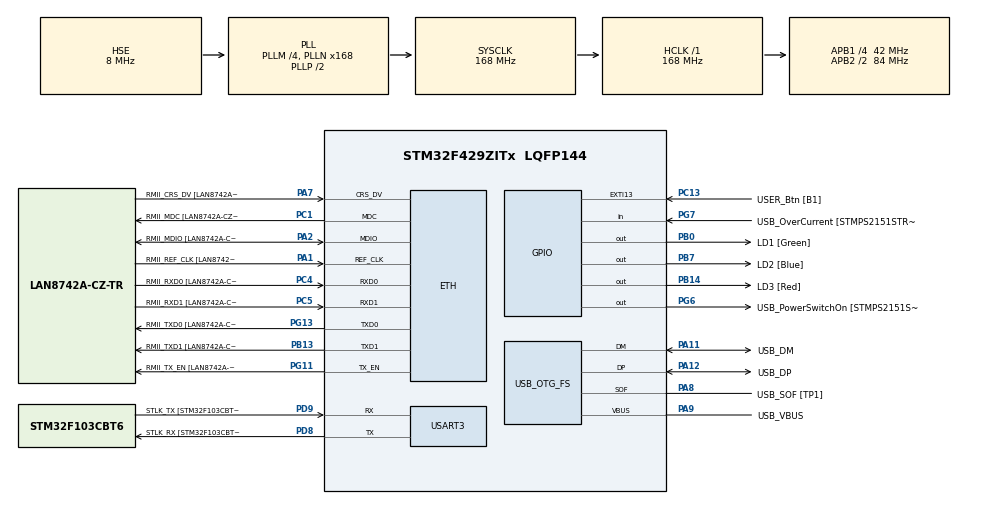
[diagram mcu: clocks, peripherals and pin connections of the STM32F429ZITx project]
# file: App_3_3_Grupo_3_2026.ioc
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ETH.MediaInterface=HAL_ETH_RMII_MODE
ETH.PHY_Name=LAN8742A_PHY_ADDRESS
ETH.PHY_Value=0
ETH.PhyAddress=0
Mcu.Family=STM32F4
Mcu.Name=STM32F429ZITx
Mcu.Package=LQFP144
NVIC.PriorityGroup=NVIC_PRIORITYGROUP_4
PA1.GPIO_Label=RMII_REF_CLK [LAN8742A-CZ-TR_REFCLK0]
PA1.Mode=RMII
PA1.Signal=ETH_REF_CLK
PA10.GPIO_Label=USB_ID
PA10.Signal=USB_OTG_FS_ID
PA11.GPIO_Label=USB_DM
PA11.Mode=Device_Only
PA11.Signal=USB_OTG_FS_DM
PA12.GPIO_Label=USB_DP
PA12.Mode=Device_Only
PA12.Signal=USB_OTG_FS_DP
PA13.GPIO_Label=TMS
PA13.Mode=Serial_Wire
PA13.Signal=SYS_JTMS-SWDIO
PA14.GPIO_Label=TCK
PA14.Mode=Serial_Wire
PA14.Signal=SYS_JTCK-SWCLK
PA2.GPIO_Label=RMII_MDIO [LAN8742A-CZ-TR_MDIO]
PA2.Mode=RMII
PA2.Signal=ETH_MDIO
PA7.GPIO_Label=RMII_CRS_DV [LAN8742A-CZ-TR_CRS_DV]
PA7.Mode=RMII
PA7.Signal=ETH_CRS_DV
PA8.GPIO_Label=USB_SOF [TP1]
PA8.Mode=Activate_SOF_FS
PA8.Signal=USB_OTG_FS_SOF
PA9.GPIO_Label=USB_VBUS
PA9.Mode=Activate_VBUS
PA9.Signal=USB_OTG_FS_VBUS
PB0.GPIO_Label=LD1 [Green]
PB0.Signal=GPIO_Output
PB13.GPIO_Label=RMII_TXD1 [LAN8742A-CZ-TR_TXD1]
PB13.Mode=RMII
PB13.Signal=ETH_TXD1
PB14.GPIO_Label=LD3 [Red]
PB14.Signal=GPIO_Output
PB7.GPIO_Label=LD2 [Blue]
PB7.Signal=GPIO_Output
PC1.GPIO_Label=RMII_MDC [LAN8742A-CZ-TR_MDC]
PC1.Mode=RMII
PC1.Signal=ETH_MDC
PC13.GPIO_Label=USER_Btn [B1]
PC13.Signal=GPXTI13
PC14/OSC32_IN.Mode=LSE-External-Oscillator
PC14/OSC32_IN.Signal=RCC_OSC32_IN
PC15/OSC32_OUT.Mode=LSE-External-Oscillator
PC15/OSC32_OUT.Signal=RCC_OSC32_OUT
PC4.GPIO_Label=RMII_RXD0 [LAN8742A-CZ-TR_RXD0]
PC4.Mode=RMII
PC4.Signal=ETH_RXD0
PC5.GPIO_Label=RMII_RXD1 [LAN8742A-CZ-TR_RXD1]
PC5.Mode=RMII
PC5.Signal=ETH_RXD1
PD8.GPIO_Label=STLK_RX [STM32F103CBT6_PA3]
PD8.Mode=Asynchronous
PD8.Signal=USART3_TX
PD9.GPIO_Label=STLK_TX [STM32F103CBT6_PA2]
PD9.Mode=Asynchronous
PD9.Signal=USART3_RX
PG11.GPIO_Label=RMII_TX_EN [LAN8742A-CZ-TR_TXEN]
PG11.Mode=RMII
PG11.Signal=ETH_TX_EN
PG13.GPIO_Label=RMII_TXD0 [LAN8742A-CZ-TR_TXD0]
PG13.Mode=RMII
PG13.Signal=ETH_TXD0
PG6.GPIO_Label=USB_PowerSwitchOn [STMPS2151STR_EN]
PG6.Signal=GPIO_Output
PG7.GPIO_Label=USB_OverCurrent [STMPS2151STR_FAULT]
PG7.Signal=GPIO_Input
PH0/OSC_IN.GPIO_Label=MCO [STM32F103CBT6_PA8]
PH0/OSC_IN.Mode=HSE-External-Clock-Source
PH0/OSC_IN.Signal=RCC_OSC_IN
PH1/OSC_OUT.Mode=HSE-External-Clock-Source
PH1/OSC_OUT.Signal=RCC_OSC_OUT
ProjectManager.HeapSize=0x200
ProjectManager.StackSize=0x400
ProjectManager.TargetToolchain=STM32CubeIDE
RCC.48MHZClocksFreq_Value=48000000
RCC.AHBFreq_Value=168000000
RCC.APB1CLKDivider=RCC_HCLK_DIV4
RCC.APB1Freq_Value=42000000
RCC.APB1TimFreq_Value=84000000
RCC.APB2CLKDivider=RCC_HCLK_DIV2
RCC.APB2Freq_Value=84000000
RCC.APB2TimCLKDivider=2
RCC.APB2TimFreq_Value=168000000
RCC.CortexFreq_Value=168000000
RCC.HCLKFreq_Value=168000000
RCC.HSE_VALUE=8000000
RCC.HSI_VALUE=16000000
RCC.PLLM=4
RCC.PLLMUL=RCC_PLL_MUL9
RCC.PLLN=168
RCC.PLLQ=7
RCC.PRESCALERUSB=RCC_USBCLKSOURCE_PLL_DIV1_5
RCC.SYSCLKFreq_VALUE=168000000
RCC.SYSCLKSource=RCC_SYSCLKSOURCE_PLLCLK
RCC.SYSCLKSourceVirtual=RCC_SYSCLKSOURCE_PLLCLK
RCC.USBFreq_Value=48000000
RCC.VCOOutputFreq_Value=336000000
USART3.VirtualMode=VM_ASYNC
USB_OTG_FS.VirtualMode=Device_Only
board=NUCLEO-F429ZI

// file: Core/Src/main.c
/* USER CODE BEGIN Header */
/**
  ******************************************************************************
  * @file           : main.c
  * @brief          : Main program body
  ******************************************************************************
  * App_3_3_Grupo_3_2026 - AFP3 - Driver GPIO
  *
  * Aplicacion (refactor de App 1.3 con driver): el pulsador onboard alterna
  * entre cuatro secuencias distintas de los 3 leds onboard:
  *   Secuencia 1: encendido secuencial LD1->LD2->LD3, alternancia de 150 ms.
  *   Secuencia 2: los tres leds parpadean simultaneamente, alternancia 300 ms.
  *   Secuencia 3: LD1 parpadea a 100 ms, LD2 a 300 ms y LD3 a 600 ms.
  *   Secuencia 4: LD1 y LD3 parpadean juntos y LD2 en forma inversa, 150 ms.
  * Cada pulsacion avanza a la siguiente secuencia (1->2->3->4->1...).
  * Toda la gestion del modulo GPIO se realiza exclusivamente con las funciones
  * del driver API_GPIO (no se usan funciones HAL_GPIO_* en este archivo).
  ******************************************************************************
  * @attention
  *
  * Copyright (c) 2026 STMicroelectronics.
  * All rights reserved.
  *
  * This software is licensed under terms that can be found in the LICENSE file
  * in the root directory of this software component.
  * If no LICENSE file comes with this software, it is provided AS-IS.
  *
  ******************************************************************************
  */
/* USER CODE END Header */
#include "main.h"
#include "string.h"
#include "API_GPIO.h"

/* USER CODE BEGIN PD */
#define LED_COUNT		3		/* Cantidad de leds del vector */
#define SEQ_COUNT		4		/* Cantidad de secuencias disponibles */
#define SEQ1_MS			150		/* Secuencia 1: alternancia secuencial [ms] */
#define SEQ2_MS			300		/* Secuencia 2: parpadeo simultaneo [ms] */
#define SEQ3_TICK_MS	100		/* Secuencia 3: tick base del parpadeo [ms] */
#define SEQ4_MS			150		/* Secuencia 4: alternancia inversa [ms] */
#define PASO_MS			10		/* Paso de lectura del pulsador dentro de la espera [ms] */
/* USER CODE END PD */

ETH_TxPacketConfig TxConfig;
ETH_DMADescTypeDef  DMARxDscrTab[ETH_RX_DESC_CNT]; /* Ethernet Rx DMA Descriptors */
ETH_DMADescTypeDef  DMATxDscrTab[ETH_TX_DESC_CNT]; /* Ethernet Tx DMA Descriptors */

ETH_HandleTypeDef heth;

UART_HandleTypeDef huart3;

PCD_HandleTypeDef hpcd_USB_OTG_FS;

/* USER CODE BEGIN PV */
/* Vector de leds de la placa: con este formato la app queda general y puede
 * extenderse a mas leds con minimas modificaciones (solo agregar elementos) */
led_t leds[LED_COUNT] = {
	{LD1_GPIO_Port, LD1_Pin},
	{LD2_GPIO_Port, LD2_Pin},
	{LD3_GPIO_Port, LD3_Pin}
};

const button_t userButton = {USER_Btn_GPIO_Port, USER_Btn_Pin};

buttonStatus_t botonAnterior = false;	/* Estado anterior del pulsador (para flanco) */
uint8_t secuencia = 0;					/* Secuencia activa: 0..SEQ_COUNT-1 */
bool cambioSecuencia = false;			/* Marca que hubo pulsacion: reinicia el estado */
uint8_t indice = 0;						/* Indice del led en la secuencia 1 */
uint8_t tick = 0;						/* Contador de ticks para la secuencia 3 */
bool estado4 = false;					/* Estado on/off para la secuencia 4 */
/* USER CODE END PV */

void SystemClock_Config(void);
/* El prototipo de MX_GPIO_Init() paso al driver: ver API_GPIO.h */
static void MX_ETH_Init(void);
static void MX_USART3_UART_Init(void);
static void MX_USB_OTG_FS_PCD_Init(void);
/* USER CODE BEGIN PFP */
static void esperarConBoton(uint16_t tiempoMs);
static void reiniciarEstado(void);
/* USER CODE END PFP */

int main(void)
{

  /* MCU Configuration--------------------------------------------------------*/

  /* Reset of all peripherals, Initializes the Flash interface and the Systick. */
  HAL_Init();

  /* Configure the system clock */
  SystemClock_Config();

  /* Initialize all configured peripherals */
  MX_GPIO_Init();
  MX_ETH_Init();
  MX_USART3_UART_Init();
  MX_USB_OTG_FS_PCD_Init();

  /* Infinite loop */
  /* USER CODE BEGIN WHILE */
  while (1)
  {
	  if (cambioSecuencia)	/* Hubo pulsacion: arrancar la nueva secuencia limpia */
	  {
		  reiniciarEstado();
	  }

	  switch (secuencia)
	  {
	  case 0:	/* Secuencia 1: encendido secuencial, 150 ms por led */
		  writeLedOn_GPIO(leds[indice]);
		  esperarConBoton(SEQ1_MS);
		  writeLedOff_GPIO(leds[indice]);
		  esperarConBoton(SEQ1_MS);
		  indice = (indice + 1) % LED_COUNT;
		  break;

	  case 1:	/* Secuencia 2: los 3 leds parpadean juntos, 300 ms */
		  for (uint8_t i = 0; i < LED_COUNT; i++) writeLedOn_GPIO(leds[i]);
		  esperarConBoton(SEQ2_MS);
		  for (uint8_t i = 0; i < LED_COUNT; i++) writeLedOff_GPIO(leds[i]);
		  esperarConBoton(SEQ2_MS);
		  break;

	  case 2:	/* Secuencia 3: LD1 cada 100 ms, LD2 cada 300 ms, LD3 cada 600 ms */
		  toggleLed_GPIO(leds[0]);					/* LD1 en cada tick (100 ms) */
		  if (tick % 3 == 0) toggleLed_GPIO(leds[1]);	/* LD2 cada 3 ticks (300 ms) */
		  if (tick % 6 == 0) toggleLed_GPIO(leds[2]);	/* LD3 cada 6 ticks (600 ms) */
		  tick = (tick + 1) % 6;
		  esperarConBoton(SEQ3_TICK_MS);
		  break;

	  case 3:	/* Secuencia 4: LD1+LD3 juntos y LD2 inverso, 150 ms */
		  estado4 = !estado4;
		  if (estado4)
		  {
			  writeLedOn_GPIO(leds[0]);
			  writeLedOn_GPIO(leds[2]);
			  writeLedOff_GPIO(leds[1]);
		  }
		  else
		  {
			  writeLedOff_GPIO(leds[0]);
			  writeLedOff_GPIO(leds[2]);
			  writeLedOn_GPIO(leds[1]);
		  }
		  esperarConBoton(SEQ4_MS);
		  break;

	  default:
		  secuencia = 0;
		  break;
	  }
    /* USER CODE END WHILE */

  }
}

void SystemClock_Config(void)
{
  RCC_OscInitTypeDef RCC_OscInitStruct = {0};
  RCC_ClkInitTypeDef RCC_ClkInitStruct = {0};

  /** Configure the main internal regulator output voltage
  */
  __HAL_RCC_PWR_CLK_ENABLE();
  __HAL_PWR_VOLTAGESCALING_CONFIG(PWR_REGULATOR_VOLTAGE_SCALE1);

  /** Initializes the RCC Oscillators according to the specified parameters
  * in the RCC_OscInitTypeDef structure.
  */
  RCC_OscInitStruct.OscillatorType = RCC_OSCILLATORTYPE_HSE;
  RCC_OscInitStruct.HSEState = RCC_HSE_BYPASS;
  RCC_OscInitStruct.PLL.PLLState = RCC_PLL_ON;
  RCC_OscInitStruct.PLL.PLLSource = RCC_PLLSOURCE_HSE;
  RCC_OscInitStruct.PLL.PLLM = 4;
  RCC_OscInitStruct.PLL.PLLN = 168;
  RCC_OscInitStruct.PLL.PLLP = RCC_PLLP_DIV2;
  RCC_OscInitStruct.PLL.PLLQ = 7;
  if (HAL_RCC_OscConfig(&RCC_OscInitStruct) != HAL_OK)
  {
    Error_Handler();
  }

  /** Initializes the CPU, AHB and APB buses clocks
  */
  RCC_ClkInitStruct.ClockType = RCC_CLOCKTYPE_HCLK|RCC_CLOCKTYPE_SYSCLK
                              |RCC_CLOCKTYPE_PCLK1|RCC_CLOCKTYPE_PCLK2;
  RCC_ClkInitStruct.SYSCLKSource = RCC_SYSCLKSOURCE_PLLCLK;
  RCC_ClkInitStruct.AHBCLKDivider = RCC_SYSCLK_DIV1;
  RCC_ClkInitStruct.APB1CLKDivider = RCC_HCLK_DIV4;
  RCC_ClkInitStruct.APB2CLKDivider = RCC_HCLK_DIV2;

  if (HAL_RCC_ClockConfig(&RCC_ClkInitStruct, FLASH_LATENCY_5) != HAL_OK)
  {
    Error_Handler();
  }
}

static void MX_ETH_Init(void)
{

   static uint8_t MACAddr[6];

  heth.Instance = ETH;
  MACAddr[0] = 0x00;
  MACAddr[1] = 0x80;
  MACAddr[2] = 0xE1;
  MACAddr[3] = 0x00;
  MACAddr[4] = 0x00;
  MACAddr[5] = 0x00;
  heth.Init.MACAddr = &MACAddr[0];
  heth.Init.MediaInterface = HAL_ETH_RMII_MODE;
  heth.Init.TxDesc = DMATxDscrTab;
  heth.Init.RxDesc = DMARxDscrTab;
  heth.Init.RxBuffLen = 1524;

  if (HAL_ETH_Init(&heth) != HAL_OK)
  {
    Error_Handler();
  }

  memset(&TxConfig, 0 , sizeof(ETH_TxPacketConfig));
  TxConfig.Attributes = ETH_TX_PACKETS_FEATURES_CSUM | ETH_TX_PACKETS_FEATURES_CRCPAD;
  TxConfig.ChecksumCtrl = ETH_CHECKSUM_IPHDR_PAYLOAD_INSERT_PHDR_CALC;
  TxConfig.CRCPadCtrl = ETH_CRC_PAD_INSERT;

}

static void MX_USART3_UART_Init(void)
{

  huart3.Instance = USART3;
  huart3.Init.BaudRate = 115200;
  huart3.Init.WordLength = UART_WORDLENGTH_8B;
  huart3.Init.StopBits = UART_STOPBITS_1;
  huart3.Init.Parity = UART_PARITY_NONE;
  huart3.Init.Mode = UART_MODE_TX_RX;
  huart3.Init.HwFlowCtl = UART_HWCONTROL_NONE;
  huart3.Init.OverSampling = UART_OVERSAMPLING_16;
  if (HAL_UART_Init(&huart3) != HAL_OK)
  {
    Error_Handler();
  }

}

static void MX_USB_OTG_FS_PCD_Init(void)
{

  hpcd_USB_OTG_FS.Instance = USB_OTG_FS;
  hpcd_USB_OTG_FS.Init.dev_endpoints = 4;
  hpcd_USB_OTG_FS.Init.speed = PCD_SPEED_FULL;
  hpcd_USB_OTG_FS.Init.dma_enable = DISABLE;
  hpcd_USB_OTG_FS.Init.phy_itface = PCD_PHY_EMBEDDED;
  hpcd_USB_OTG_FS.Init.Sof_enable = ENABLE;
  hpcd_USB_OTG_FS.Init.low_power_enable = DISABLE;
  hpcd_USB_OTG_FS.Init.lpm_enable = DISABLE;
  hpcd_USB_OTG_FS.Init.vbus_sensing_enable = ENABLE;
  hpcd_USB_OTG_FS.Init.use_dedicated_ep1 = DISABLE;
  if (HAL_PCD_Init(&hpcd_USB_OTG_FS) != HAL_OK)
  {
    Error_Handler();
  }

}

/* USER CODE BEGIN 4 */
/**
  * @brief Espera el tiempo indicado leyendo el pulsador cada PASO_MS.
  *        Si se detecta un flanco ascendente (pulsacion), avanza a la
  *        siguiente secuencia y marca el cambio para reiniciar el estado.
  * @param tiempoMs: tiempo total de espera en milisegundos
  * @retval None
  */
static void esperarConBoton(uint16_t tiempoMs)
{
	for (uint16_t t = 0; t < tiempoMs; t += PASO_MS)
	{
		buttonStatus_t actual = readButton_GPIO(userButton);
		if (actual && !botonAnterior)
		{
			secuencia = (secuencia + 1) % SEQ_COUNT;
			cambioSecuencia = true;
		}
		botonAnterior = actual;
		HAL_Delay(PASO_MS);
	}
}

/**
  * @brief Apaga todos los leds y reinicia las variables de estado de las
  *        secuencias. Se ejecuta al cambiar de secuencia para que la nueva
  *        arranque desde una condicion conocida.
  * @retval None
  */
static void reiniciarEstado(void)
{
	for (uint8_t i = 0; i < LED_COUNT; i++)
	{
		writeLedOff_GPIO(leds[i]);
	}
	indice = 0;
	tick = 0;
	estado4 = false;
	cambioSecuencia = false;
}
/* USER CODE END 4 */

void Error_Handler(void)
{
  __disable_irq();
  while (1)
  {
  }
}
